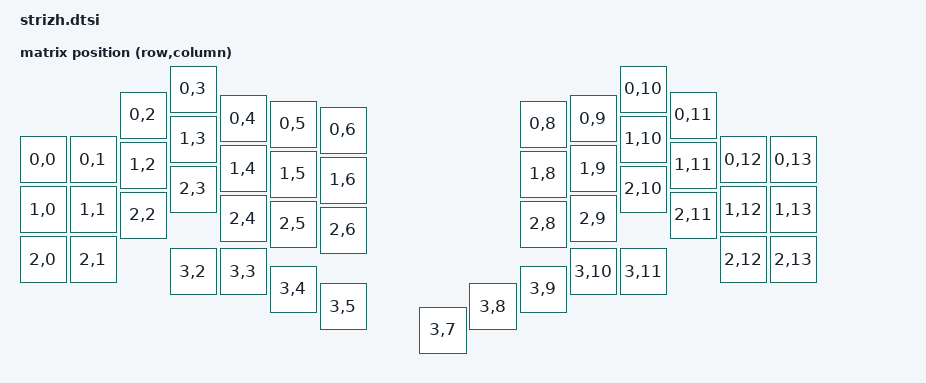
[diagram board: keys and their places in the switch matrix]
#include <dt-bindings/zmk/matrix_transform.h>
#include <physical_layouts.dtsi>

/ {
    kscan0: kscan0 {
        compatible = "zmk,kscan-gpio-matrix";
        diode-direction = "col2row";
        wakeup-source;
    };

    chosen {
        zmk,kscan = &kscan0;
        zmk,physical-layout = &physical_layout_col7_trackpad;
    };

    col7_trackpad_transform: col7_trackpad_transform {
        compatible = "zmk,matrix-transform";
        columns = <14>;
        rows = <4>;

        map = <
            RC(0,0)  RC(0,1)  RC(0,2)  RC(0,3)  RC(0,4)  RC(0,5)  RC(0,6)                     RC(0,8)  RC(0,9)  RC(0,10)  RC(0,11)  RC(0,12)  RC(0,13)
            RC(1,0)  RC(1,1)  RC(1,2)  RC(1,3)  RC(1,4)  RC(1,5)  RC(1,6)                     RC(1,8)  RC(1,9)  RC(1,10)  RC(1,11)  RC(1,12)  RC(1,13)
            RC(2,0)  RC(2,1)  RC(2,2)  RC(2,3)  RC(2,4)  RC(2,5)  RC(2,6)                     RC(2,8)  RC(2,9)  RC(2,10)  RC(2,11)  RC(2,12)  RC(2,13)
                                       RC(3,2)  RC(3,3)  RC(3,4)  RC(3,5)   RC(3,7)  RC(3,8)  RC(3,9)  RC(3,10) RC(3,11)
        >;
    };

    split_inputs {
        #address-cells = <1>;
        #size-cells = <0>;

        glidepoint_split: glidepoint_split@0 {
            compatible = "zmk,input-split";
            reg = <0>;
        };
    };

    glidepoint_listener: glidepoint_listener {
        compatible = "zmk,input-listener";
        status = "disabled";
        device = <&glidepoint_split>;
    };

    physical_layout_col7_trackpad: physical_layout_col7_trackpad {
        compatible = "zmk,physical-layout";
        display-name = "7 Column - Trackpad";

        kscan = <&kscan0>;
        transform = <&col7_trackpad_transform>;

        keys  //                     w   h    x    y     rot    rx    ry
            = <&key_physical_attrs 100 100    0  141       0     0     0>
            , <&key_physical_attrs 100 100  100  141       0     0     0>
            , <&key_physical_attrs 100 100  200   52       0     0     0>
            , <&key_physical_attrs 100 100  300    0       0     0     0>
            , <&key_physical_attrs 100 100  400   59       0     0     0>
            , <&key_physical_attrs 100 100  500   70       0     0     0>
            , <&key_physical_attrs 100 100  600   82       0     0     0>
            , <&key_physical_attrs 100 100 1000   70       0     0     0>
            , <&key_physical_attrs 100 100 1100   59       0     0     0>
            , <&key_physical_attrs 100 100 1200    0       0     0     0>
            , <&key_physical_attrs 100 100 1300   52       0     0     0>
            , <&key_physical_attrs 100 100 1400  141       0     0     0>
            , <&key_physical_attrs 100 100 1500  141       0     0     0>
            , <&key_physical_attrs 100 100    0  241       0     0     0>
            , <&key_physical_attrs 100 100  100  241       0     0     0>
            , <&key_physical_attrs 100 100  200  152       0     0     0>
            , <&key_physical_attrs 100 100  300  100       0     0     0>
            , <&key_physical_attrs 100 100  400  159       0     0     0>
            , <&key_physical_attrs 100 100  500  170       0     0     0>
            , <&key_physical_attrs 100 100  600  182       0     0     0>
            , <&key_physical_attrs 100 100 1000  170       0     0     0>
            , <&key_physical_attrs 100 100 1100  159       0     0     0>
            , <&key_physical_attrs 100 100 1200  100       0     0     0>
            , <&key_physical_attrs 100 100 1300  152       0     0     0>
            , <&key_physical_attrs 100 100 1400  241       0     0     0>
            , <&key_physical_attrs 100 100 1500  241       0     0     0>
            , <&key_physical_attrs 100 100    0  341       0     0     0>
            , <&key_physical_attrs 100 100  100  341       0     0     0>
            , <&key_physical_attrs 100 100  200  252       0     0     0>
            , <&key_physical_attrs 100 100  300  200       0     0     0>
            , <&key_physical_attrs 100 100  400  259       0     0     0>
            , <&key_physical_attrs 100 100  500  270       0     0     0>
            , <&key_physical_attrs 100 100  600  282       0     0     0>
            , <&key_physical_attrs 100 100 1000  270       0     0     0>
            , <&key_physical_attrs 100 100 1100  259       0     0     0>
            , <&key_physical_attrs 100 100 1200  200       0     0     0>
            , <&key_physical_attrs 100 100 1300  252       0     0     0>
            , <&key_physical_attrs 100 100 1400  341       0     0     0>
            , <&key_physical_attrs 100 100 1500  341       0     0     0>
            , <&key_physical_attrs 100 100  300  365       0     0     0>
            , <&key_physical_attrs 100 100  400  365       0     0     0>
            , <&key_physical_attrs 100 100  500  400       0     0     0>
            , <&key_physical_attrs 100 100  600  435       0     0     0>
            , <&key_physical_attrs 100 100  800  482       0     0     0>
            , <&key_physical_attrs 100 100  900  435       0     0     0>
            , <&key_physical_attrs 100 100 1000  400       0     0     0>
            , <&key_physical_attrs 100 100 1100  365       0     0     0>
            , <&key_physical_attrs 100 100 1200  365       0     0     0>
            ;
    };
};
